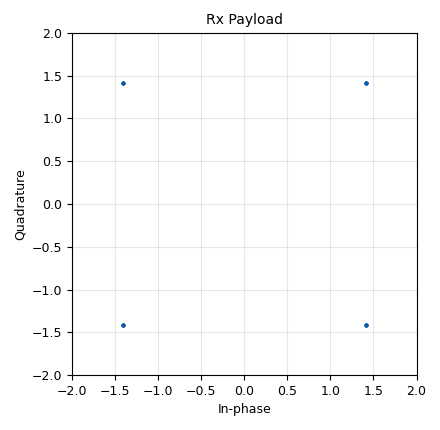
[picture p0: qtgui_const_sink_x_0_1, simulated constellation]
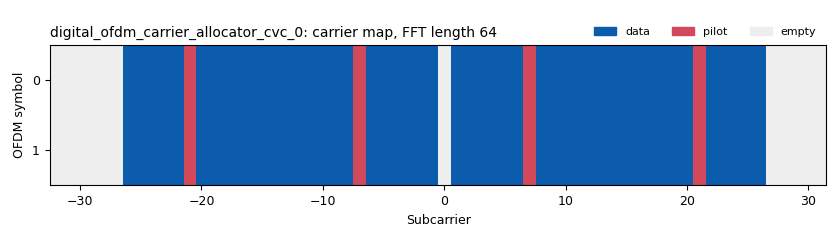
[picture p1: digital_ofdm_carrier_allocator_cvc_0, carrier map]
options:
  parameters:
    author: Paulo Anjos
    generate_options: qt_gui
    id: Phoenix_OFDM
    output_language: python
    title: Phoenix_OFDM
  states: {}

blocks:
- name: fft_len
  id: variable
  parameters:
    value: '64'
  states: {}
- name: frame_len
  id: variable
  parameters:
    value: '"frame_len"'
  states: {}
- name: freq_offset
  id: variable_qtgui_range
  parameters:
    label: Frequency Offset
    start: '-0.1'
    step: '0.001'
    stop: '0.1'
    value: '0'
  states: {}
- name: gui_points
  id: variable
  parameters:
    value: '128'
  states: {}
- name: header_equalizer
  id: variable
  parameters:
    value: digital.ofdm_equalizer_simpledfe(fft_len, header_mod.base(), occupied_carriers, pilot_carriers, pilot_symbols)
  states: {}
- name: header_formatter
  id: variable
  parameters:
    value: digital.packet_header_ofdm(occupied_carriers, n_syms=1, len_tag_key=length_tag_key, frame_len_tag_key=frame_len, bits_per_header_sym=header_mod.bits_per_symbol(), bits_per_payload_sym=payload_mod.bits_per_symbol(), scramble_header=False)
  states: {}
- name: header_mod
  id: variable
  parameters:
    value: digital.constellation_bpsk()
  states: {}
- name: length_tag_key
  id: variable
  parameters:
    value: '"packet_len"'
  states: {}
- name: noise_volt
  id: variable_qtgui_range
  parameters:
    label: Noise Voltage
    start: '0'
    step: '0.1'
    stop: '5'
    value: '0'
  states: {}
- name: occupied_carriers
  id: variable
  parameters:
    value: (list(range(-26, -21)) + list(range(-20, -7)) + list(range(-6, 0)) + list(range(1, 7)) + list(range(8, 21)) + list(range(22, 27)),)
  states: {}
- name: packet_len
  id: variable
  parameters:
    value: '192'
  states: {}
- name: payload_equalizer
  id: variable
  parameters:
    value: digital.ofdm_equalizer_simpledfe(fft_len, payload_mod.base(), occupied_carriers, pilot_carriers, pilot_symbols, 1, enable_soft_output=True)
  states: {}
- name: payload_mod
  id: variable
  parameters:
    value: digital.constellation_qpsk()
  states: {}
- name: pilot_carriers
  id: variable
  parameters:
    value: ((-21, -7, 7, 21,),)
  states: {}
- name: pilot_symbols
  id: variable
  parameters:
    value: ((1, 1, 1, -1,),)
  states: {}
- name: samp_rate
  id: variable
  parameters:
    value: '25000'
  states: {}
- name: sync_word1
  id: variable
  parameters:
    value: '[0., 0., 0., 0., 0., 0., 0., 1.41421356, 0., -1.41421356, 0., 1.41421356, 0., -1.41421356, 0., -1.41421356, 0., -1.41421356, 0., 1.41421356, 0., -1.41421356, 0., 1.41421356, 0., -1.41421356, 0., -1.41421356, 0., -1.41421356, 0., -1.41421356, 0., 1.41421356, 0., -1.41421356, 0., 1.41421356, 0., 1.41421356, 0., 1.41421356, 0., -1.41421356, 0., 1.41421356, 0., 1.41421356, 0., 1.41421356, 0., -1.41421356, 0., 1.41421356, 0., 1.41421356, 0., 1.41421356, 0., 0., 0., 0., 0., 0.]'
  states: {}
- name: sync_word2
  id: variable
  parameters:
    value: '[0, 0, 0, 0, 0, 0, -1, -1, -1, -1, 1, 1, -1, -1, -1, 1, -1, 1, 1, 1, 1, 1, -1, -1, -1, -1, -1, 1, -1, -1, 1, -1, 0, 1, -1, 1, 1, 1, -1, 1, 1, 1, -1, 1, 1, 1, 1, -1, 1, -1, -1, -1, 1, -1, 1, -1, -1, -1, -1, 0, 0, 0, 0, 0]'
  states: {}
- name: time_offset
  id: variable_qtgui_range
  parameters:
    label: Timing Offset
    start: '0.999'
    step: '0.0001'
    stop: '1.001'
    value: '1'
  states: {}
- name: analog_frequency_modulator_fc_0
  id: analog_frequency_modulator_fc
  parameters:
    sensitivity: '-2.0/fft_len'
  states: {}
- name: analog_random_source_x_0
  id: analog_random_source_x
  parameters:
    max: '255'
    min: '0'
    num_samps: '1000'
    repeat: 'True'
    type: byte
  states: {}
- name: blocks_delay_0
  id: blocks_delay
  parameters:
    delay: fft_len+fft_len//4
    type: complex
  states: {}
- name: blocks_multiply_xx_0
  id: blocks_multiply_xx
  parameters:
    type: complex
  states: {}
- name: blocks_repack_bits_bb_0
  id: blocks_repack_bits_bb
  parameters:
    endianness: gr.GR_LSB_FIRST
    k: '8'
    l: payload_mod.bits_per_symbol()
    len_tag_key: length_tag_key
  states: {}
- name: blocks_stream_to_tagged_stream_0
  id: blocks_stream_to_tagged_stream
  parameters:
    len_tag_key: length_tag_key
    packet_len: packet_len
    type: byte
  states: {}
- name: blocks_tagged_stream_mux_0
  id: blocks_tagged_stream_mux
  parameters:
    lengthtagname: length_tag_key
    ninputs: '2'
    type: complex
  states: {}
- name: blocks_throttle2_0_0
  id: blocks_throttle2
  parameters:
    samples_per_second: samp_rate
    type: complex
  states: {}
- name: channels_channel_model_0
  id: channels_channel_model
  parameters:
    epsilon: time_offset
    freq_offset: freq_offset
    noise_voltage: noise_volt
    seed: '0'
    taps: '1.0'
  states: {}
- name: digital_chunks_to_symbols_xx_0
  id: digital_chunks_to_symbols_xx
  parameters:
    dimension: '1'
    in_type: byte
    out_type: complex
    symbol_table: header_mod.points()
  states: {}
- name: digital_chunks_to_symbols_xx_0_0
  id: digital_chunks_to_symbols_xx
  parameters:
    dimension: '1'
    in_type: byte
    out_type: complex
    symbol_table: payload_mod.points()
  states: {}
- name: digital_constellation_decoder_cb_0
  id: digital_constellation_decoder_cb
  parameters:
    constellation: header_mod.base()
  states: {}
- name: digital_crc32_bb_0
  id: digital_crc32_bb
  parameters:
    check: 'False'
    lengthtagname: length_tag_key
    packed: 'True'
  states: {}
- name: digital_header_payload_demux_0
  id: digital_header_payload_demux
  parameters:
    guard_interval: fft_len//4
    header_len: '3'
    header_padding: '0'
    items_per_symbol: fft_len
    length_tag_key: frame_len
    output_symbols: 'True'
    samp_rate: samp_rate
    special_tags: ()
    timing_tag_key: '"rx_time"'
    type: complex
  states: {}
- name: digital_ofdm_carrier_allocator_cvc_0
  id: digital_ofdm_carrier_allocator_cvc
  parameters:
    fft_len: fft_len
    len_tag_key: length_tag_key
    occupied_carriers: occupied_carriers
    output_is_shifted: 'True'
    pilot_carriers: pilot_carriers
    pilot_symbols: pilot_symbols
    sync_words: (sync_word1, sync_word2)
  states: {}
- name: digital_ofdm_chanest_vcvc_0_0
  id: digital_ofdm_chanest_vcvc
  parameters:
    force_one_symbol: 'False'
    max_carr_offset: '3'
    n_data_symbols: '1'
    sync_symbol1: sync_word1
    sync_symbol2: sync_word2
  states: {}
- name: digital_ofdm_cyclic_prefixer_0
  id: digital_ofdm_cyclic_prefixer
  parameters:
    cp_len: fft_len//4
    input_size: fft_len
    tagname: length_tag_key
  states: {}
- name: digital_ofdm_frame_equalizer_vcvc_0
  id: digital_ofdm_frame_equalizer_vcvc
  parameters:
    cp_len: fft_len//4
    equalizer: header_equalizer.base()
    fft_len: fft_len
    fixed_frame_len: '1'
    len_tag_key: length_tag_key
    propagate_channel_state: 'True'
  states: {}
- name: digital_ofdm_frame_equalizer_vcvc_0_0_0
  id: digital_ofdm_frame_equalizer_vcvc
  parameters:
    cp_len: fft_len//4
    equalizer: payload_equalizer.base()
    fft_len: fft_len
    len_tag_key: frame_len
    propagate_channel_state: 'True'
  states: {}
- name: digital_ofdm_serializer_vcc_0
  id: digital_ofdm_serializer_vcc
  parameters:
    fft_len: fft_len
    len_tag_key: length_tag_key
    occupied_carriers: occupied_carriers
    packet_len_tag_key: ''
  states: {}
- name: digital_ofdm_serializer_vcc_0_1
  id: digital_ofdm_serializer_vcc
  parameters:
    fft_len: fft_len
    len_tag_key: frame_len
    occupied_carriers: occupied_carriers
    packet_len_tag_key: ''
    symbols_skipped: '1'
  states: {}
- name: digital_ofdm_sync_sc_cfb_0
  id: digital_ofdm_sync_sc_cfb
  parameters:
    cp_len: fft_len//4
    fft_len: fft_len
    threshold: '0.9'
  states: {}
- name: digital_packet_headergenerator_bb_0
  id: digital_packet_headergenerator_bb
  parameters:
    header_formatter: header_formatter.base()
    len_tag_key: length_tag_key
  states: {}
- name: digital_packet_headerparser_b_0
  id: digital_packet_headerparser_b
  parameters:
    header_formatter: header_formatter.base()
  states: {}
- name: fft_vxx_0
  id: fft_vxx
  parameters:
    fft_size: fft_len
    forward: 'False'
    shift: 'True'
    type: complex
    window: ()
  states: {}
- name: fft_vxx_0_0
  id: fft_vxx
  parameters:
    fft_size: fft_len
    forward: 'True'
    shift: 'True'
    type: complex
    window: ()
  states: {}
- name: fft_vxx_0_1
  id: fft_vxx
  parameters:
    fft_size: fft_len
    forward: 'True'
    shift: 'True'
    type: complex
    window: ()
  states: {}
- name: import_0
  id: import
  parameters:
    imports: from gnuradio import digital
  states: {}
- name: qtgui_const_sink_x_0_1
  id: qtgui_const_sink_x
  parameters:
    grid: 'True'
    name: '"Rx Payload"'
    size: gui_points
    type: complex
    update_time: '0.3'
  states: {}
- name: virtual_sink_0
  id: virtual_sink
  parameters:
    stream_id: Payload Bits
  states: {}
- name: virtual_sink_1
  id: virtual_sink
  parameters:
    stream_id: Header Bits
  states: {}
- name: virtual_sink_1_0
  id: virtual_sink
  parameters:
    stream_id: Header Stream
  states: {}
- name: virtual_sink_2
  id: virtual_sink
  parameters:
    stream_id: Pre-OFDM
  states: {}
- name: virtual_sink_2_0
  id: virtual_sink
  parameters:
    stream_id: Payload Stream
  states: {}
- name: virtual_sink_3
  id: virtual_sink
  parameters:
    stream_id: Time Domain
  states: {}
- name: virtual_sink_3_0
  id: virtual_sink
  parameters:
    stream_id: Payload IQ
  states: {}
- name: virtual_sink_4
  id: virtual_sink
  parameters:
    stream_id: '1'
  states: {}
- name: virtual_sink_5
  id: virtual_sink
  parameters:
    stream_id: '2'
  states: {}
- name: virtual_sink_6
  id: virtual_sink
  parameters:
    stream_id: '3'
  states: {}
- name: virtual_sink_7
  id: virtual_sink
  parameters:
    stream_id: '4'
  states: {}
- name: virtual_sink_8
  id: virtual_sink
  parameters:
    stream_id: '5'
  states: {}
- name: virtual_source_0
  id: virtual_source
  parameters:
    stream_id: Header Bits
  states: {}
- name: virtual_source_0_0
  id: virtual_source
  parameters:
    stream_id: Header Stream
  states: {}
- name: virtual_source_1
  id: virtual_source
  parameters:
    stream_id: Payload Bits
  states: {}
- name: virtual_source_1_0
  id: virtual_source
  parameters:
    stream_id: Payload Stream
  states: {}
- name: virtual_source_2
  id: virtual_source
  parameters:
    stream_id: Pre-OFDM
  states: {}
- name: virtual_source_3
  id: virtual_source
  parameters:
    stream_id: Time Domain
  states: {}
- name: virtual_source_4
  id: virtual_source
  parameters:
    stream_id: '1'
  states: {}
- name: virtual_source_5
  id: virtual_source
  parameters:
    stream_id: '2'
  states: {}
- name: virtual_source_6
  id: virtual_source
  parameters:
    stream_id: '3'
  states: {}
- name: virtual_source_7
  id: virtual_source
  parameters:
    stream_id: '4'
  states: {}
- name: virtual_source_8
  id: virtual_source
  parameters:
    stream_id: '5'
  states: {}

connections:
- [analog_frequency_modulator_fc_0, '0', blocks_multiply_xx_0, '0']
- [analog_random_source_x_0, '0', blocks_stream_to_tagged_stream_0, '0']
- [blocks_delay_0, '0', blocks_multiply_xx_0, '1']
- [blocks_multiply_xx_0, '0', digital_header_payload_demux_0, '0']
- [blocks_repack_bits_bb_0, '0', virtual_sink_0, '0']
- [blocks_stream_to_tagged_stream_0, '0', digital_crc32_bb_0, '0']
- [blocks_tagged_stream_mux_0, '0', virtual_sink_2, '0']
- [blocks_throttle2_0_0, '0', channels_channel_model_0, '0']
- [channels_channel_model_0, '0', virtual_sink_3, '0']
- [digital_chunks_to_symbols_xx_0, '0', blocks_tagged_stream_mux_0, '0']
- [digital_chunks_to_symbols_xx_0_0, '0', blocks_tagged_stream_mux_0, '1']
- [digital_constellation_decoder_cb_0, '0', digital_packet_headerparser_b_0, '0']
- [digital_crc32_bb_0, '0', virtual_sink_4, '0']
- [digital_header_payload_demux_0, '0', virtual_sink_1_0, '0']
- [digital_header_payload_demux_0, '1', virtual_sink_2_0, '0']
- [digital_ofdm_carrier_allocator_cvc_0, '0', fft_vxx_0, '0']
- [digital_ofdm_chanest_vcvc_0_0, '0', virtual_sink_6, '0']
- [digital_ofdm_cyclic_prefixer_0, '0', blocks_throttle2_0_0, '0']
- [digital_ofdm_frame_equalizer_vcvc_0, '0', digital_ofdm_serializer_vcc_0, '0']
- [digital_ofdm_frame_equalizer_vcvc_0_0_0, '0', virtual_sink_8, '0']
- [digital_ofdm_serializer_vcc_0, '0', virtual_sink_7, '0']
- [digital_ofdm_serializer_vcc_0_1, '0', qtgui_const_sink_x_0_1, '0']
- [digital_ofdm_serializer_vcc_0_1, '0', virtual_sink_3_0, '0']
- [digital_ofdm_sync_sc_cfb_0, '0', analog_frequency_modulator_fc_0, '0']
- [digital_ofdm_sync_sc_cfb_0, '1', digital_header_payload_demux_0, '1']
- [digital_packet_headergenerator_bb_0, '0', virtual_sink_1, '0']
- [digital_packet_headerparser_b_0, header_data, digital_header_payload_demux_0, header_data]
- [fft_vxx_0, '0', virtual_sink_5, '0']
- [fft_vxx_0_0, '0', digital_ofdm_frame_equalizer_vcvc_0_0_0, '0']
- [fft_vxx_0_1, '0', digital_ofdm_chanest_vcvc_0_0, '0']
- [virtual_source_0, '0', digital_chunks_to_symbols_xx_0, '0']
- [virtual_source_0_0, '0', fft_vxx_0_1, '0']
- [virtual_source_1, '0', digital_chunks_to_symbols_xx_0_0, '0']
- [virtual_source_1_0, '0', fft_vxx_0_0, '0']
- [virtual_source_2, '0', digital_ofdm_carrier_allocator_cvc_0, '0']
- [virtual_source_3, '0', blocks_delay_0, '0']
- [virtual_source_3, '0', digital_ofdm_sync_sc_cfb_0, '0']
- [virtual_source_4, '0', blocks_repack_bits_bb_0, '0']
- [virtual_source_4, '0', digital_packet_headergenerator_bb_0, '0']
- [virtual_source_5, '0', digital_ofdm_cyclic_prefixer_0, '0']
- [virtual_source_6, '0', digital_ofdm_frame_equalizer_vcvc_0, '0']
- [virtual_source_7, '0', digital_constellation_decoder_cb_0, '0']
- [virtual_source_8, '0', digital_ofdm_serializer_vcc_0_1, '0']

metadata:
  file_format: 1
  grc_version: 3.10.12.0
